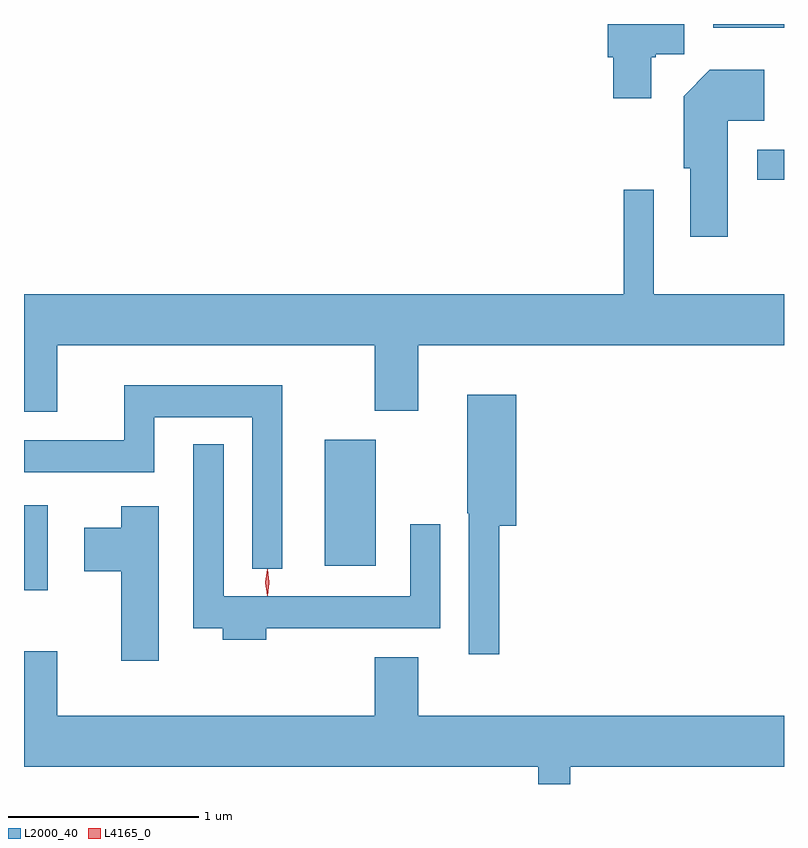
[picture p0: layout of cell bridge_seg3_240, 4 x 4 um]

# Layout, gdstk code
import gdstk
lib = gdstk.Library(unit=1e-6, precision=1e-09)
def R(c, l, rs):  # rectangles x0, y0, x1, y1
    for r in rs: c.add(gdstk.rectangle(r[:2], r[2:], *l))
def P(c, l, *ps):  # polygons
    for p in ps: c.add(gdstk.Polygon(p, *l))
L2000_40 = (2000, 40)
L4165_0 = (4165, 0)

bridge_seg3_240 = lib.new_cell('bridge_seg3_240')
R(bridge_seg3_240, L2000_40, [(986.604,1135.826,986.729,1136.274), (988.186,1135.956,988.454,1136.619), (990.463,1137.986,990.604,1138.144), (990.231,1138.786,990.604,1138.806)])
P(bridge_seg3_240, L2000_40, [(989.904,1138.631),(989.93,1138.631),(989.93,1138.646),(990.079,1138.646),(990.079,1138.806),(989.676,1138.806),(989.676,1138.631),(989.706,1138.631),(989.706,1138.416),(989.904,1138.416)],
  [(990.309,1138.296),(990.499,1138.296),(990.499,1138.564),(990.214,1138.564),(990.076,1138.427),(990.076,1138.046),(990.111,1138.046),(990.111,1137.686),(990.309,1137.686)],
  [(986.779,1137.116),(988.451,1137.116),(988.451,1136.771),(988.679,1136.771),(988.679,1137.116),(990.604,1137.116),(990.604,1137.384),(989.919,1137.384),(989.919,1137.933),(989.761,1137.933),(989.761,1137.384),(986.604,1137.384),(986.604,1136.766),(986.779,1136.766)],
  [(987.964,1136.904),(987.131,1136.904),(987.131,1136.614),(986.604,1136.614),(986.604,1136.446),(987.289,1136.446),(987.289,1136.736),(987.806,1136.736),(987.806,1135.938),(987.964,1135.938)],
  [(989.104,1136.166),(989.194,1136.166),(989.194,1136.854),(988.936,1136.854),(988.936,1136.23),(988.946,1136.23),(988.946,1135.488),(989.104,1135.488)],
  [(987.879,1135.626),(988.794,1135.626),(988.794,1136.173),(988.636,1136.173),(988.636,1135.794),(987.654,1135.794),(987.654,1136.593),(987.496,1136.593),(987.496,1135.626),(987.651,1135.626),(987.651,1135.566),(987.879,1135.566)],
  [(987.314,1136.269),(987.116,1136.269),(987.116,1136.154),(986.921,1136.154),(986.921,1135.926),(987.116,1135.926),(987.116,1135.456),(987.314,1135.456)],
  [(989.479,1134.896),(990.604,1134.896),(990.604,1135.164),(988.679,1135.164),(988.679,1135.474),(988.451,1135.474),(988.451,1135.164),(986.779,1135.164),(986.779,1135.504),(986.604,1135.504),(986.604,1134.896),(989.311,1134.896),(989.311,1134.806),(989.479,1134.806)])
P(bridge_seg3_240, L4165_0, [(987.885,1135.797),(987.885,1135.798),(987.875,1135.867),(987.885,1135.936),(987.885,1135.936),(987.886,1135.936),(987.895,1135.867),(987.886,1135.798)],
  [(987.885,1135.799),(987.885,1135.8),(987.875,1135.866),(987.885,1135.932),(987.885,1135.933),(987.886,1135.932),(987.895,1135.866),(987.886,1135.8)])

lib.write_gds('bridge_seg3_240.gds')
